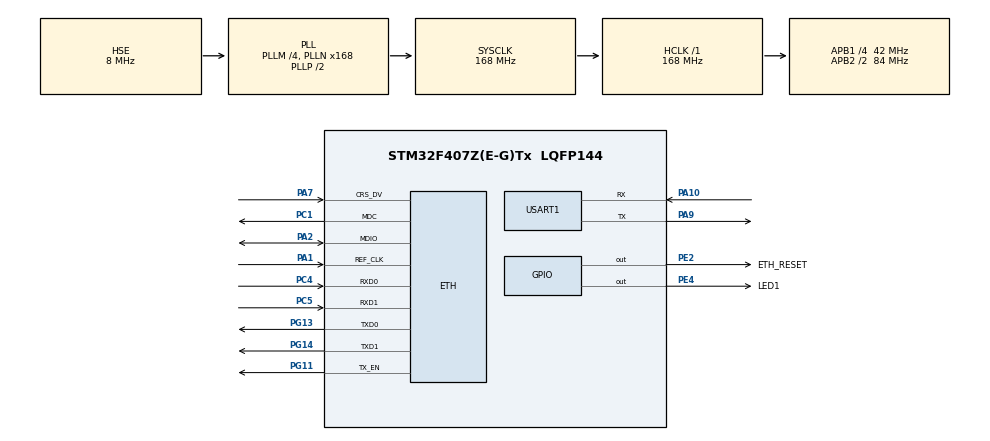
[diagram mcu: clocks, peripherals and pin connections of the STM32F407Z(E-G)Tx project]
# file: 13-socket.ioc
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ETH.MediaInterface=HAL_ETH_RMII_MODE
FREERTOS.Tasks01=defaultTask,24,1024,StartDefaultTask,Default,NULL,Dynamic,NULL,NULL
FREERTOS.configENABLE_FPU=1
FREERTOS.configUSE_NEWLIB_REENTRANT=1
LWIP.BSP.number=1
LWIP.CMSIS_VERSION-Enabled=1
LWIP.GATEWAY_ADDRESS=192.168.001.001
LWIP.IP_ADDRESS=192.168.001.001
LWIP.LWIP_DHCP=0
LWIP.NETMASK_ADDRESS=255.255.255.000
LWIP.Version=v2.1.2_Cube
LWIP0.BSP.STBoard=false
LWIP0.BSP.api=BSP_COMPONENT_DRIVER
LWIP0.BSP.component=LAN8742
LWIP0.BSP.instance=LAN8742
LWIP0.BSP.name=Driver_PHY
LWIP0.BSP.semaphore=S_LAN8742
LWIP0.BSP.solution=LAN8742
Mcu.Family=STM32F4
Mcu.Name=STM32F407Z(E-G)Tx
Mcu.Package=LQFP144
NVIC.ETH_IRQn=true\:5\:0\:false\:false\:true\:true\:true\:true\:true
NVIC.PriorityGroup=NVIC_PRIORITYGROUP_4
NVIC.TIM6_DAC_IRQn=true\:15\:0\:false\:false\:true\:false\:false\:true\:true
NVIC.TimeBase=TIM6_DAC_IRQn
NVIC.TimeBaseIP=TIM6
PA1.Mode=RMII
PA1.Signal=ETH_REF_CLK
PA10.Mode=Asynchronous
PA10.Signal=USART1_RX
PA13.Mode=Serial_Wire
PA13.Signal=SYS_JTMS-SWDIO
PA14.Mode=Serial_Wire
PA14.Signal=SYS_JTCK-SWCLK
PA2.Mode=RMII
PA2.Signal=ETH_MDIO
PA7.Mode=RMII
PA7.Signal=ETH_CRS_DV
PA9.Mode=Asynchronous
PA9.Signal=USART1_TX
PC1.Mode=RMII
PC1.Signal=ETH_MDC
PC14-OSC32_IN.Mode=LSE-External-Oscillator
PC14-OSC32_IN.Signal=RCC_OSC32_IN
PC15-OSC32_OUT.Mode=LSE-External-Oscillator
PC15-OSC32_OUT.Signal=RCC_OSC32_OUT
PC4.Mode=RMII
PC4.Signal=ETH_RXD0
PC5.Mode=RMII
PC5.Signal=ETH_RXD1
PE2.GPIO_Label=ETH_RESET
PE2.Signal=GPIO_Output
PE4.GPIO_Label=LED1
PE4.Signal=GPIO_Output
PG11.Mode=RMII
PG11.Signal=ETH_TX_EN
PG13.Mode=RMII
PG13.Signal=ETH_TXD0
PG14.Mode=RMII
PG14.Signal=ETH_TXD1
PH0-OSC_IN.Mode=HSE-External-Oscillator
PH0-OSC_IN.Signal=RCC_OSC_IN
PH1-OSC_OUT.Mode=HSE-External-Oscillator
PH1-OSC_OUT.Signal=RCC_OSC_OUT
ProjectManager.HeapSize=0x200
ProjectManager.StackSize=0x400
ProjectManager.TargetToolchain=STM32CubeIDE
RCC.48MHZClocksFreq_Value=84000000
RCC.AHBFreq_Value=168000000
RCC.APB1CLKDivider=RCC_HCLK_DIV4
RCC.APB1Freq_Value=42000000
RCC.APB1TimFreq_Value=84000000
RCC.APB2CLKDivider=RCC_HCLK_DIV2
RCC.APB2Freq_Value=84000000
RCC.APB2TimFreq_Value=168000000
RCC.CortexFreq_Value=168000000
RCC.HCLKFreq_Value=168000000
RCC.HSE_VALUE=8000000
RCC.HSI_VALUE=16000000
RCC.PLLM=4
RCC.PLLN=168
RCC.PLLSourceVirtual=RCC_PLLSOURCE_HSE
RCC.SYSCLKFreq_VALUE=168000000
RCC.SYSCLKSource=RCC_SYSCLKSOURCE_PLLCLK
RCC.VCOOutputFreq_Value=336000000
USART1.VirtualMode=VM_ASYNC
VP_FREERTOS_VS_CMSIS_V2.Mode=CMSIS_V2
VP_LWIP_VS_Enabled.Mode=Enabled
VP_SYS_VS_tim6.Mode=TIM6
board=custom

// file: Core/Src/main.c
/* USER CODE BEGIN Header */
/**
  ******************************************************************************
  * @file           : main.c
  * @brief          : Main program body
  ******************************************************************************
  * @attention
  *
  * Copyright (c) 2023 STMicroelectronics.
  * All rights reserved.
  *
  * This software is licensed under terms that can be found in the LICENSE file
  * in the root directory of this software component.
  * If no LICENSE file comes with this software, it is provided AS-IS.
  *
  ******************************************************************************
  */
/* USER CODE END Header */
#include "main.h"
#include "cmsis_os.h"
#include "lwip.h"
#include "usart.h"
#include "gpio.h"

/* USER CODE BEGIN PTD */
#ifdef __GNUC__
#define PUTCHAR_PROTOTYPE int __io_putchar(int ch)
#else
#define PUTCHAR_PROTOTYPE int fputc(int ch, FILE *f)
#endif /* __GNUC__ */

//重定向printf函数
PUTCHAR_PROTOTYPE {
    HAL_UART_Transmit(&huart1, (uint8_t *) &ch, 1, 0xFFFF);//输出指向串口USART1
    return ch;
}

/* USER CODE END PTD */

/* USER CODE BEGIN PV */

int connected;

/* USER CODE END PV */

void SystemClock_Config(void);
void MX_FREERTOS_Init(void);

int main(void)
{

  /* MCU Configuration--------------------------------------------------------*/

  /* Reset of all peripherals, Initializes the Flash interface and the Systick. */
  HAL_Init();

  /* Configure the system clock */
  SystemClock_Config();

  /* Initialize all configured peripherals */
  MX_GPIO_Init();
  MX_USART1_UART_Init();

  /* Init scheduler */
  osKernelInitialize();  /* Call init function for freertos objects (in freertos.c) */
  MX_FREERTOS_Init();

  /* Start scheduler */
  osKernelStart();
  /* We should never get here as control is now taken by the scheduler */
  /* Infinite loop */
  while (1)
  {

  }
}

void SystemClock_Config(void)
{
  RCC_OscInitTypeDef RCC_OscInitStruct = {0};
  RCC_ClkInitTypeDef RCC_ClkInitStruct = {0};

  /** Configure the main internal regulator output voltage
  */
  __HAL_RCC_PWR_CLK_ENABLE();
  __HAL_PWR_VOLTAGESCALING_CONFIG(PWR_REGULATOR_VOLTAGE_SCALE1);

  /** Initializes the RCC Oscillators according to the specified parameters
  * in the RCC_OscInitTypeDef structure.
  */
  RCC_OscInitStruct.OscillatorType = RCC_OSCILLATORTYPE_HSE;
  RCC_OscInitStruct.HSEState = RCC_HSE_ON;
  RCC_OscInitStruct.PLL.PLLState = RCC_PLL_ON;
  RCC_OscInitStruct.PLL.PLLSource = RCC_PLLSOURCE_HSE;
  RCC_OscInitStruct.PLL.PLLM = 4;
  RCC_OscInitStruct.PLL.PLLN = 168;
  RCC_OscInitStruct.PLL.PLLP = RCC_PLLP_DIV2;
  RCC_OscInitStruct.PLL.PLLQ = 4;
  if (HAL_RCC_OscConfig(&RCC_OscInitStruct) != HAL_OK)
  {
    Error_Handler();
  }

  /** Initializes the CPU, AHB and APB buses clocks
  */
  RCC_ClkInitStruct.ClockType = RCC_CLOCKTYPE_HCLK|RCC_CLOCKTYPE_SYSCLK
                              |RCC_CLOCKTYPE_PCLK1|RCC_CLOCKTYPE_PCLK2;
  RCC_ClkInitStruct.SYSCLKSource = RCC_SYSCLKSOURCE_PLLCLK;
  RCC_ClkInitStruct.AHBCLKDivider = RCC_SYSCLK_DIV1;
  RCC_ClkInitStruct.APB1CLKDivider = RCC_HCLK_DIV4;
  RCC_ClkInitStruct.APB2CLKDivider = RCC_HCLK_DIV2;

  if (HAL_RCC_ClockConfig(&RCC_ClkInitStruct, FLASH_LATENCY_5) != HAL_OK)
  {
    Error_Handler();
  }
}

void HAL_TIM_PeriodElapsedCallback(TIM_HandleTypeDef *htim)
{
  if (htim->Instance == TIM6) {
    HAL_IncTick();
  }
}

void Error_Handler(void)
{
  __disable_irq();
  while (1)
  {
  }
}

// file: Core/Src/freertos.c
/* USER CODE BEGIN Header */
/**
  ******************************************************************************
  * File Name          : freertos.c
  * Description        : Code for freertos applications
  ******************************************************************************
  * @attention
  *
  * Copyright (c) 2023 STMicroelectronics.
  * All rights reserved.
  *
  * This software is licensed under terms that can be found in the LICENSE file
  * in the root directory of this software component.
  * If no LICENSE file comes with this software, it is provided AS-IS.
  *
  ******************************************************************************
  */
/* USER CODE END Header */

#include "FreeRTOS.h"
#include "task.h"
#include "main.h"
#include "cmsis_os.h"

/* USER CODE BEGIN Includes */
#include "lwip.h"
#include "tcp_socket.h"
#include "lwip/sockets.h"

/* USER CODE END Includes */

/* USER CODE BEGIN Variables */
extern struct netif gnetif;
extern int connected;

/* USER CODE END Variables */
/* Definitions for defaultTask */
osThreadId_t defaultTaskHandle;
const osThreadAttr_t defaultTask_attributes = {
  .name = "defaultTask",
  .stack_size = 1024 * 4,
  .priority = (osPriority_t) osPriorityNormal,
};

/* USER CODE BEGIN FunctionPrototypes */
char recv_data[12] = "helloworld\n";
/* USER CODE END FunctionPrototypes */

void StartDefaultTask(void *argument);

extern void MX_LWIP_Init(void);
void MX_FREERTOS_Init(void); /* (MISRA C 2004 rule 8.1) */

void MX_FREERTOS_Init(void) {

  /* Create the thread(s) */
  /* creation of defaultTask */
  defaultTaskHandle = osThreadNew(StartDefaultTask, NULL, &defaultTask_attributes);

  /* USER CODE BEGIN RTOS_THREADS */
    /* add threads, ... */
    tcpecho_init();
  /* USER CODE END RTOS_THREADS */

}

void StartDefaultTask(void *argument)
{
  /* init code for LWIP */
  MX_LWIP_Init();
  /* USER CODE BEGIN StartDefaultTask */
    /* Infinite loop */
    for (;;) {
        if (netif_is_up(&gnetif)) {
            printf("ip address: %s\n", ip4addr_ntoa(&gnetif.ip_addr));
        } else {
            printf("netif not up\n");
        }
        //vTaskDelay(1000);

        HAL_GPIO_TogglePin(LED1_GPIO_Port, LED1_Pin);
        osDelay(500);
        if (connected > 0) {
            write(connected, recv_data, 12);
        }
    }
  /* USER CODE END StartDefaultTask */
}
